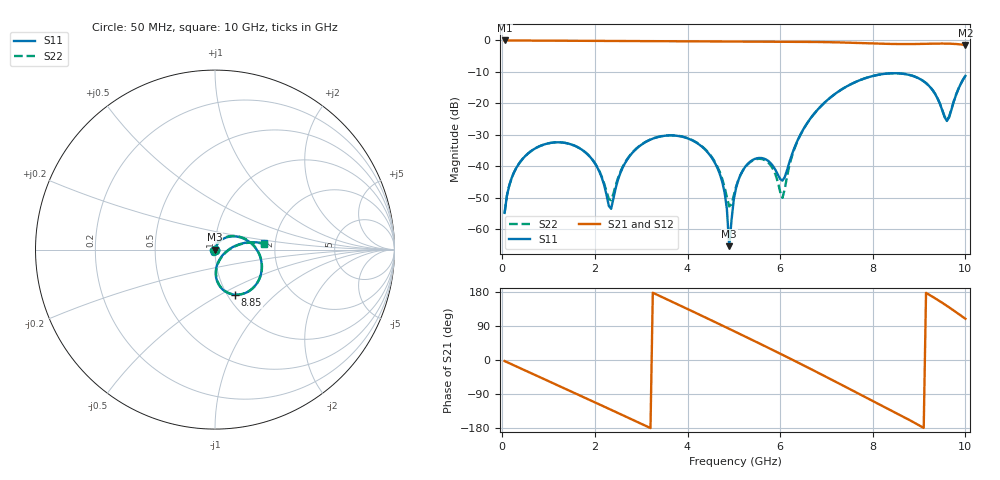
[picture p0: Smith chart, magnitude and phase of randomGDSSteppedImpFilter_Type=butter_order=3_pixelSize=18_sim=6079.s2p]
! freq	dB(S11)	phase(S11)	dB(S12)	phase(S12)
!  dB(S21)	phase(S21)	dB(S22)	phase(S22)
!S-par simulation data
#  GHz  S  DB  R 50
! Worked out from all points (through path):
!   200 points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, 50 MHz to 10 GHz, reference 50 ohm
!   highest |S21| = -0.01 dB at 50 MHz (marker M1); lowest = -1.5 dB at 10 GHz (marker M2)
!   group delay of S21, straight-line fit = 166 ps
!   lowest |S11| = -65.4 dB at 4.9 GHz (marker M3), VSWR 1.00, Z = 50 + j0.0353 ohm
!   |S11| at or under -10 dB: start of sweep to end of sweep
!   |S22| runs from -54.9 to -10.4 dB; largest |S21 - S12| = 0
!   S11 on the Smith chart (normalised r, x): 50 MHz: 1.00, -0.00; 8.85 GHz: 1.08, -0.59; 10 GHz: 1.74, +0.13
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0.05  -54.87 -89.2  -0.01 -2.8  -0.01 -2.8  -54.87 -89.2
0.25  -42.07 -103.0  -0.02 -14.0  -0.02 -14.0  -42.07 -103.1
0.6  -35.44 -124.5  -0.04 -33.5  -0.04 -33.5  -35.44 -124.7
1.75  -35.09 166.5  -0.11 -97.8  -0.11 -97.8  -35.07 165.0
2.1  -41.84 138.7  -0.13 -117.4  -0.13 -117.4  -41.68 134.3
2.35  -53.57 33.5  -0.15 -131.5  -0.15 -131.5  -50.85 37.0
2.7  -37.84 -52.2  -0.18 -151.2  -0.18 -151.2  -37.68 -47.8
3.4  -30.59 -97.0  -0.23 169.0  -0.23 169.0  -30.54 -94.2
4.55  -37.91 -163.1  -0.31 102.7  -0.31 102.7  -37.65 -153.5
4.8  -48.33 -179.0  -0.32 88.1  -0.32 88.1  -46.70 -148.4
4.9  -65.45 138.5  -0.33 82.2  -0.33 82.2  -52.82 -107.3
5.05  -46.80 -6.9  -0.34 73.4  -0.34 73.4  -46.41 -37.6
5.6  -37.41 -34.1  -0.37 40.8  -0.37 40.8  -37.73 -45.6
6.05  -44.60 12.1  -0.40 13.7  -0.40 13.7  -50.08 11.0
6.3  -34.45 67.2  -0.42 -1.5  -0.42 -1.5  -34.83 75.7
6.7  -23.93 56.9  -0.47 -26.2  -0.47 -26.2  -23.96 59.5
7.55  -13.75 9.6  -0.74 -79.6  -0.74 -79.6  -13.75 10.4
8.35  -10.49 -37.5  -1.10 -130.1  -1.10 -130.1  -10.48 -37.0
8.85  -11.22 -66.2  -1.15 -162.2  -1.15 -162.2  -11.21 -65.7
9.3  -15.98 -87.6  -1.03 166.3  -1.03 166.3  -15.94 -86.9
9.6  -25.62 -40.5  -1.00 142.9  -1.00 142.9  -25.28 -40.3
10  -11.27 7.2  -1.46 108.8  -1.46 108.8  -11.26 6.9
